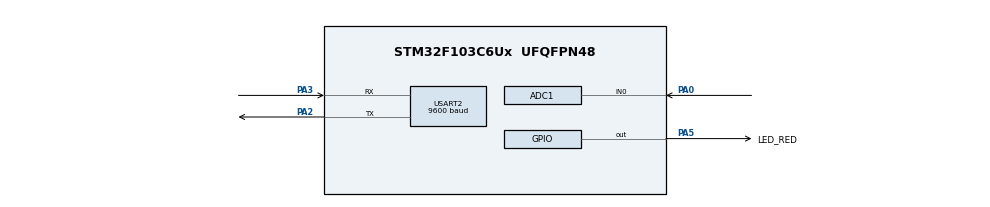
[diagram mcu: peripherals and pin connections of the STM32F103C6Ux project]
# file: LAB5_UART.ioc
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ADC1.Channel-0\#ChannelRegularConversion=ADC_CHANNEL_0
ADC1.ContinuousConvMode=ENABLE
ADC1.NbrOfConversionFlag=1
ADC1.Rank-0\#ChannelRegularConversion=1
ADC1.SamplingTime-0\#ChannelRegularConversion=ADC_SAMPLETIME_1CYCLE_5
ADC1.master=1
Mcu.Family=STM32F1
Mcu.Name=STM32F103C6Ux
Mcu.Package=UFQFPN48
NVIC.PriorityGroup=NVIC_PRIORITYGROUP_4
NVIC.TIM2_IRQn=true\:0\:0\:false\:false\:true\:true\:true
NVIC.USART2_IRQn=true\:0\:0\:false\:false\:true\:true\:true
PA0-WKUP.Signal=ADCx_IN0
PA2.Mode=Asynchronous
PA2.Signal=USART2_TX
PA3.Mode=Asynchronous
PA3.Signal=USART2_RX
PA5.GPIO_Label=LED_RED
PA5.Signal=GPIO_Output
ProjectManager.HeapSize=0x200
ProjectManager.StackSize=0x400
ProjectManager.TargetToolchain=STM32CubeIDE
RCC.APB1Freq_Value=8000000
RCC.APB2Freq_Value=8000000
SH.ADCx_IN0.0=ADC1_IN0,IN0
TIM2.Period=9
TIM2.Prescaler=7999
USART2.BaudRate=9600
USART2.VirtualMode=VM_ASYNC
VP_SYS_VS_ND.Mode=No_Debug
VP_TIM2_VS_ClockSourceINT.Mode=Internal
board=custom

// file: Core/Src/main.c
/* USER CODE BEGIN Header */
/**
  ******************************************************************************
  * @file           : main.c
  * @brief          : Main program body
  ******************************************************************************
  * @attention
  *
  * <h2><center>&copy; Copyright (c) 2024 STMicroelectronics.
  * All rights reserved.</center></h2>
  *
  * This software component is licensed by ST under BSD 3-Clause license,
  * the "License"; You may not use this file except in compliance with the
  * License. You may obtain a copy of the License at:
  *                        opensource.org/licenses/BSD-3-Clause
  *
  ******************************************************************************
  */
/* USER CODE END Header */
#include "main.h"

/* USER CODE BEGIN Includes */
#include "global.h"
/* USER CODE END Includes */

ADC_HandleTypeDef hadc1;

TIM_HandleTypeDef htim2;

UART_HandleTypeDef huart2;

void SystemClock_Config(void);
static void MX_GPIO_Init(void);
static void MX_ADC1_Init(void);
static void MX_USART2_UART_Init(void);
static void MX_TIM2_Init(void);

/* USER CODE BEGIN 0 */

void HAL_UART_RxCpltCallback(UART_HandleTypeDef *huart){
	if(huart -> Instance == USART2 ){
		buffer_flag = 1;
		HAL_UART_Transmit(&huart2, &temp, 1, 50);
		HAL_UART_Receive_IT(&huart2, &temp, 1);
	}
}

void command_parser_fsm(){
	switch (parser_state) {
		case PARSER_WAIT:
			if(temp == '!'){
				parser_state = PARSER_READ;
				memset(command_buffer, 0, BUFFER_SIZE);
				command_index = 0;
			}
			break;
		case PARSER_READ:
			if(temp == '#'){
				parser_state = PARSER_WAIT;
				command_ready_flag  = 1;
			}
			else{
				if(command_index < BUFFER_SIZE){
					command_buffer[command_index++] = temp;
				}
			}
			break;
		default:
			break;
	}
}

void uart_communication_fsm(){
	switch (comm_state ) {
		case COMM_RST:
			if((strcmp((char*)command_buffer, "RST") == 0) && command_ready_flag ){
				HAL_UART_Transmit(&huart2, (uint8_t *)"\r\n", 2, 1000);
				int adc = HAL_ADC_GetValue(&hadc1);
				sprintf((char*)response_buffer, "!ADC=%d#\r\n", adc);
				comm_state  = COMM_TRANSMIT;
				command_ready_flag  = 0;
			}
			break;

		case COMM_TRANSMIT:
			HAL_UART_Transmit(&huart2, response_buffer, strlen((char*)response_buffer), 1000);
			setTimer(0,300);
			comm_state = COMM_OK;
			break;

		case COMM_OK:
			if((strcmp((char*)command_buffer, "OK") == 0) && command_ready_flag ){
				HAL_UART_Transmit(&huart2, (uint8_t *)"\r\n", 2, 1000);
				HAL_UART_Transmit(&huart2, (uint8_t *)"FINISH\r\n", 8, 1000);
				comm_state = COMM_RST;
				command_ready_flag  = 0;
				memset(response_buffer, 0, BUFFER_SIZE);
			}
			else if(timer_flag1[0] == 1){
				comm_state = COMM_TRANSMIT;
			}
			break;
		default:
			break;
	}
}
/* USER CODE END 0 */

int main(void)
{

  /* MCU Configuration--------------------------------------------------------*/

  /* Reset of all peripherals, Initializes the Flash interface and the Systick. */
  HAL_Init();

  /* Configure the system clock */
  SystemClock_Config();

  /* Initialize all configured peripherals */
  MX_GPIO_Init();
  MX_ADC1_Init();
  MX_USART2_UART_Init();
  MX_TIM2_Init();
  /* USER CODE BEGIN 2 */
  HAL_TIM_Base_Start_IT(&htim2);
  HAL_ADC_Start(&hadc1);
  /* USER CODE END 2 */

  /* Infinite loop */
  /* USER CODE BEGIN WHILE */
  uint8_t initial_data[]="HELLO UART\r\n";
  HAL_UART_Transmit(&huart2, initial_data, sizeof(initial_data), 1000);
  HAL_UART_Receive_IT(&huart2, &temp, 1);
  setTimer(1, 100);
  while (1)
  {
	  if (timer_flag1[1] == 1){
		  setTimer(1, 100);
		  HAL_GPIO_TogglePin(LED_RED_GPIO_Port, LED_RED_Pin);
	  }
	  if (buffer_flag==1){
		  command_parser_fsm();
		  buffer_flag=0;
	  }
	  uart_communication_fsm();

    /* USER CODE END WHILE */

  }
}

void SystemClock_Config(void)
{
  RCC_OscInitTypeDef RCC_OscInitStruct = {0};
  RCC_ClkInitTypeDef RCC_ClkInitStruct = {0};
  RCC_PeriphCLKInitTypeDef PeriphClkInit = {0};

  /** Initializes the RCC Oscillators according to the specified parameters
  * in the RCC_OscInitTypeDef structure.
  */
  RCC_OscInitStruct.OscillatorType = RCC_OSCILLATORTYPE_HSI;
  RCC_OscInitStruct.HSIState = RCC_HSI_ON;
  RCC_OscInitStruct.HSICalibrationValue = RCC_HSICALIBRATION_DEFAULT;
  RCC_OscInitStruct.PLL.PLLState = RCC_PLL_NONE;
  if (HAL_RCC_OscConfig(&RCC_OscInitStruct) != HAL_OK)
  {
    Error_Handler();
  }
  /** Initializes the CPU, AHB and APB buses clocks
  */
  RCC_ClkInitStruct.ClockType = RCC_CLOCKTYPE_HCLK|RCC_CLOCKTYPE_SYSCLK
                              |RCC_CLOCKTYPE_PCLK1|RCC_CLOCKTYPE_PCLK2;
  RCC_ClkInitStruct.SYSCLKSource = RCC_SYSCLKSOURCE_HSI;
  RCC_ClkInitStruct.AHBCLKDivider = RCC_SYSCLK_DIV1;
  RCC_ClkInitStruct.APB1CLKDivider = RCC_HCLK_DIV1;
  RCC_ClkInitStruct.APB2CLKDivider = RCC_HCLK_DIV1;

  if (HAL_RCC_ClockConfig(&RCC_ClkInitStruct, FLASH_LATENCY_0) != HAL_OK)
  {
    Error_Handler();
  }
  PeriphClkInit.PeriphClockSelection = RCC_PERIPHCLK_ADC;
  PeriphClkInit.AdcClockSelection = RCC_ADCPCLK2_DIV2;
  if (HAL_RCCEx_PeriphCLKConfig(&PeriphClkInit) != HAL_OK)
  {
    Error_Handler();
  }
}

static void MX_ADC1_Init(void)
{

  ADC_ChannelConfTypeDef sConfig = {0};

  /** Common config
  */
  hadc1.Instance = ADC1;
  hadc1.Init.ScanConvMode = ADC_SCAN_DISABLE;
  hadc1.Init.ContinuousConvMode = ENABLE;
  hadc1.Init.DiscontinuousConvMode = DISABLE;
  hadc1.Init.ExternalTrigConv = ADC_SOFTWARE_START;
  hadc1.Init.DataAlign = ADC_DATAALIGN_RIGHT;
  hadc1.Init.NbrOfConversion = 1;
  if (HAL_ADC_Init(&hadc1) != HAL_OK)
  {
    Error_Handler();
  }
  /** Configure Regular Channel
  */
  sConfig.Channel = ADC_CHANNEL_0;
  sConfig.Rank = ADC_REGULAR_RANK_1;
  sConfig.SamplingTime = ADC_SAMPLETIME_1CYCLE_5;
  if (HAL_ADC_ConfigChannel(&hadc1, &sConfig) != HAL_OK)
  {
    Error_Handler();
  }

}

static void MX_TIM2_Init(void)
{

  TIM_ClockConfigTypeDef sClockSourceConfig = {0};
  TIM_MasterConfigTypeDef sMasterConfig = {0};

  htim2.Instance = TIM2;
  htim2.Init.Prescaler = 7999;
  htim2.Init.CounterMode = TIM_COUNTERMODE_UP;
  htim2.Init.Period = 9;
  htim2.Init.ClockDivision = TIM_CLOCKDIVISION_DIV1;
  htim2.Init.AutoReloadPreload = TIM_AUTORELOAD_PRELOAD_DISABLE;
  if (HAL_TIM_Base_Init(&htim2) != HAL_OK)
  {
    Error_Handler();
  }
  sClockSourceConfig.ClockSource = TIM_CLOCKSOURCE_INTERNAL;
  if (HAL_TIM_ConfigClockSource(&htim2, &sClockSourceConfig) != HAL_OK)
  {
    Error_Handler();
  }
  sMasterConfig.MasterOutputTrigger = TIM_TRGO_RESET;
  sMasterConfig.MasterSlaveMode = TIM_MASTERSLAVEMODE_DISABLE;
  if (HAL_TIMEx_MasterConfigSynchronization(&htim2, &sMasterConfig) != HAL_OK)
  {
    Error_Handler();
  }

}

static void MX_USART2_UART_Init(void)
{

  huart2.Instance = USART2;
  huart2.Init.BaudRate = 9600;
  huart2.Init.WordLength = UART_WORDLENGTH_8B;
  huart2.Init.StopBits = UART_STOPBITS_1;
  huart2.Init.Parity = UART_PARITY_NONE;
  huart2.Init.Mode = UART_MODE_TX_RX;
  huart2.Init.HwFlowCtl = UART_HWCONTROL_NONE;
  huart2.Init.OverSampling = UART_OVERSAMPLING_16;
  if (HAL_UART_Init(&huart2) != HAL_OK)
  {
    Error_Handler();
  }

}

static void MX_GPIO_Init(void)
{
  GPIO_InitTypeDef GPIO_InitStruct = {0};

  /* GPIO Ports Clock Enable */
  __HAL_RCC_GPIOA_CLK_ENABLE();

  /*Configure GPIO pin Output Level */
  HAL_GPIO_WritePin(LED_RED_GPIO_Port, LED_RED_Pin, GPIO_PIN_RESET);

  /*Configure GPIO pin : LED_RED_Pin */
  GPIO_InitStruct.Pin = LED_RED_Pin;
  GPIO_InitStruct.Mode = GPIO_MODE_OUTPUT_PP;
  GPIO_InitStruct.Pull = GPIO_NOPULL;
  GPIO_InitStruct.Speed = GPIO_SPEED_FREQ_LOW;
  HAL_GPIO_Init(LED_RED_GPIO_Port, &GPIO_InitStruct);

}

/* USER CODE BEGIN 4 */
void HAL_TIM_PeriodElapsedCallback(TIM_HandleTypeDef *htim){
	timerRun();
}
/* USER CODE END 4 */

void Error_Handler(void)
{
  __disable_irq();
  while (1)
  {
  }
}

/************************ (C) COPYRIGHT STMicroelectronics *****END OF FILE****/
